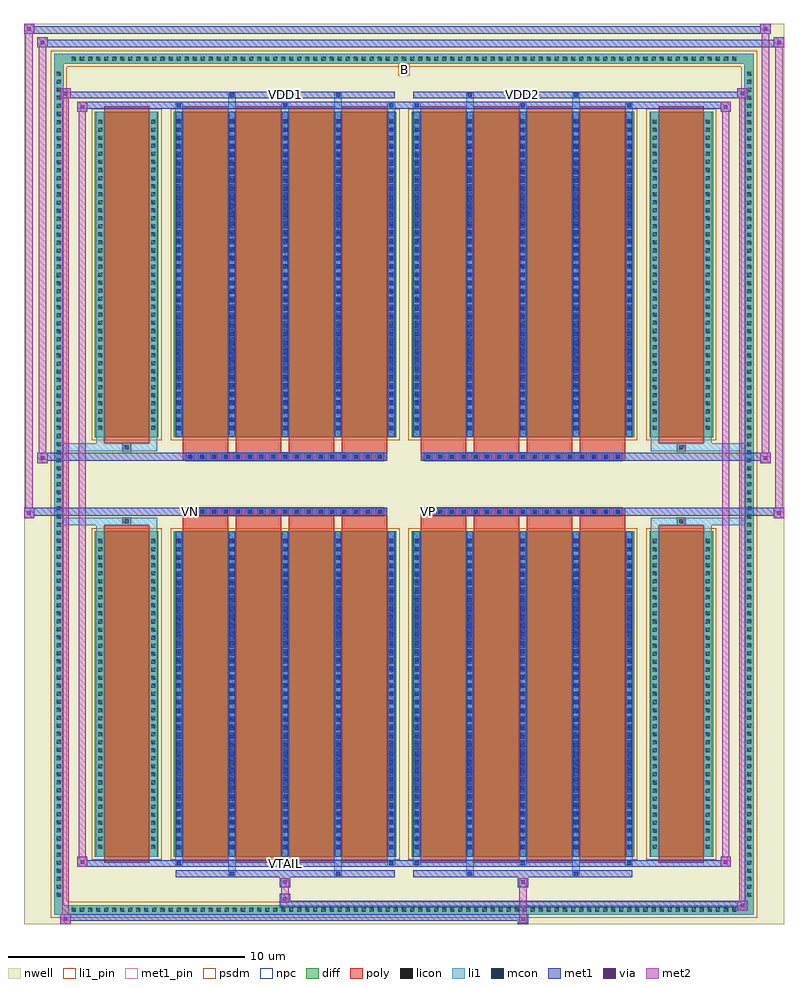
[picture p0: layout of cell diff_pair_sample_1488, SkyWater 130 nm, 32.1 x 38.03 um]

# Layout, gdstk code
import gdstk
lib = gdstk.Library(unit=1e-6, precision=5e-09)
def R(c, l, rs):  # rectangles x0, y0, x1, y1
    for r in rs: c.add(gdstk.rectangle(r[:2], r[2:], *l))
def A(c, l, x, y, w, h, nx, ny, dx, dy):  # array of equal rectangles
    R(c, l, [(x+i*dx, y+j*dy, x+i*dx+w, y+j*dy+h) for i in range(nx) for j in range(ny)])
def P(c, l, *ps):  # polygons
    for p in ps: c.add(gdstk.Polygon(p, *l))
nwell = (64, 20)
diff = (65, 20)
poly = (66, 20)
licon = (66, 44)
li1_pin = (67, 16)
li1 = (67, 20)
mcon = (67, 44)
met1_pin = (68, 16)
met1 = (68, 20)
via = (68, 44)
met2 = (69, 20)
psdm = (94, 20)
npc = (95, 20)

diff_pair_sample_1488 = lib.new_cell('diff_pair_sample_1488')
R(diff_pair_sample_1488, nwell, [(-16.05,-18.58,16.05,19.45), (-13.37,-16.77,-0.01,-0.795), (0.01,-16.77,13.37,-0.795), (-13.37,0.795,-0.01,16.77), (0.01,0.795,13.37,16.77)])
A(diff_pair_sample_1488, diff, -14.145, -18.18, 0.41, 0.41, 83, 2, 0.34, 35.95)
A(diff_pair_sample_1488, diff, -14.78, -17.545, 0.41, 0.41, 1, 103, 0, 0.34)
A(diff_pair_sample_1488, diff, 14.37, -17.545, 0.41, 0.41, 1, 103, 0, 0.34)
R(diff_pair_sample_1488, diff, [(-14.145,-18.18,14.145,-17.77), (-14.78,-17.545,-14.37,17.545), (14.37,-17.545,14.78,17.545), (-13.06,-15.725,-10.37,-1.985), (-9.73,-15.725,-0.32,-1.985), (0.32,-15.725,9.73,-1.985), (10.37,-15.725,13.06,-1.985), (-13.06,1.985,-10.37,15.725), (-9.73,1.985,-0.32,15.725), (0.32,1.985,9.73,15.725), (10.37,1.985,13.06,15.725), (-14.145,17.77,14.145,18.18)])
P(diff_pair_sample_1488, diff, [(14.78,18.18),(-14.78,18.18),(-14.78,-17.77),(-14.37,-17.77),(-14.37,17.77),(14.37,17.77),(14.37,-17.77),(-14.37,-17.77),(-14.78,-17.77),(-14.78,-18.18),(14.78,-18.18)])
A(diff_pair_sample_1488, poly, -9.34, -15.975, 1.91, 14.24, 4, 2, 2.24, 17.71)
A(diff_pair_sample_1488, poly, 0.71, -15.975, 1.91, 14.24, 4, 2, 2.24, 17.71)
A(diff_pair_sample_1488, poly, -9.34, -1.735, 1.91, 0.41, 4, 2, 2.24, 3.06)
A(diff_pair_sample_1488, poly, 0.71, -1.735, 1.91, 0.41, 4, 2, 2.24, 3.06)
A(diff_pair_sample_1488, poly, -9.19, -1.325, 0.33, 0.33, 17, 2, 0.5, 2.32)
A(diff_pair_sample_1488, poly, 0.86, -1.325, 0.33, 0.33, 17, 2, 0.5, 2.32)
R(diff_pair_sample_1488, poly, [(-12.67,-15.975,-10.76,-1.735), (10.76,-15.975,12.67,-1.735), (-11.88,-1.735,-11.55,-1.405), (-11.88,-1.735,-11.55,-1.405), (11.55,-1.735,11.88,-1.405), (11.55,-1.735,11.88,-1.405), (-9.34,-1.325,-0.71,-0.995), (0.71,-1.325,9.34,-0.995), (-9.34,0.995,-0.71,1.325), (0.71,0.995,9.34,1.325), (-11.88,1.405,-11.55,1.735), (-11.88,1.405,-11.55,1.735), (11.55,1.405,11.88,1.735), (11.55,1.405,11.88,1.735), (-12.67,1.735,-10.76,15.975), (10.76,1.735,12.67,15.975)])
A(diff_pair_sample_1488, licon, -14.025, -18.06, 0.17, 0.17, 83, 2, 0.34, 35.95)
A(diff_pair_sample_1488, licon, -14.66, -17.425, 0.17, 0.17, 1, 103, 0, 0.34)
A(diff_pair_sample_1488, licon, 14.49, -17.425, 0.17, 0.17, 1, 103, 0, 0.34)
A(diff_pair_sample_1488, licon, -12.92, -15.4, 0.17, 0.17, 1, 39, 0, 0.34)
A(diff_pair_sample_1488, licon, -10.68, -15.4, 0.17, 0.17, 1, 39, 0, 0.34)
A(diff_pair_sample_1488, licon, -9.59, -15.4, 0.17, 0.17, 5, 39, 2.24, 0.34)
A(diff_pair_sample_1488, licon, 0.46, -15.4, 0.17, 0.17, 5, 39, 2.24, 0.34)
A(diff_pair_sample_1488, licon, 10.51, -15.4, 0.17, 0.17, 1, 39, 0, 0.34)
A(diff_pair_sample_1488, licon, 12.75, -15.4, 0.17, 0.17, 1, 39, 0, 0.34)
A(diff_pair_sample_1488, licon, -9.11, -1.245, 0.17, 0.17, 17, 2, 0.5, 2.32)
A(diff_pair_sample_1488, licon, 0.94, -1.245, 0.17, 0.17, 17, 2, 0.5, 2.32)
A(diff_pair_sample_1488, licon, -12.92, 2.31, 0.17, 0.17, 1, 39, 0, 0.34)
A(diff_pair_sample_1488, licon, -10.68, 2.31, 0.17, 0.17, 1, 39, 0, 0.34)
A(diff_pair_sample_1488, licon, -9.59, 2.31, 0.17, 0.17, 5, 39, 2.24, 0.34)
A(diff_pair_sample_1488, licon, 0.46, 2.31, 0.17, 0.17, 5, 39, 2.24, 0.34)
A(diff_pair_sample_1488, licon, 10.51, 2.31, 0.17, 0.17, 1, 39, 0, 0.34)
A(diff_pair_sample_1488, licon, 12.75, 2.31, 0.17, 0.17, 1, 39, 0, 0.34)
R(diff_pair_sample_1488, licon, [(-11.8,-1.655,-11.63,-1.485), (11.63,-1.655,11.8,-1.485), (-11.8,1.485,-11.63,1.655), (11.63,1.485,11.8,1.655)])
R(diff_pair_sample_1488, li1_pin, [(-0.25,17.27,0.25,17.77)])
A(diff_pair_sample_1488, li1, -14.105, -18.14, 0.33, 0.33, 83, 2, 0.34, 35.95)
A(diff_pair_sample_1488, li1, -14.74, -17.505, 0.33, 0.33, 1, 103, 0, 0.34)
A(diff_pair_sample_1488, li1, 14.41, -17.505, 0.33, 0.33, 1, 103, 0, 0.34)
A(diff_pair_sample_1488, li1, -9.67, -16.1, 0.33, 0.375, 3, 2, 4.48, 31.825)
A(diff_pair_sample_1488, li1, -9.59, -16.1, 0.17, 0.17, 3, 2, 4.48, 32.03)
A(diff_pair_sample_1488, li1, 0.38, -16.1, 0.33, 0.375, 3, 2, 4.48, 31.825)
A(diff_pair_sample_1488, li1, 0.46, -16.1, 0.17, 0.17, 3, 2, 4.48, 32.03)
A(diff_pair_sample_1488, li1, -9.67, -15.725, 0.33, 13.74, 5, 2, 2.24, 17.71)
A(diff_pair_sample_1488, li1, 0.38, -15.725, 0.33, 13.74, 5, 2, 2.24, 17.71)
A(diff_pair_sample_1488, li1, -13, -15.48, 0.33, 0.33, 1, 39, 0, 0.34)
A(diff_pair_sample_1488, li1, -10.76, -15.48, 0.33, 0.33, 1, 39, 0, 0.34)
A(diff_pair_sample_1488, li1, -9.67, -15.48, 0.33, 0.33, 5, 39, 2.24, 0.34)
A(diff_pair_sample_1488, li1, 0.38, -15.48, 0.33, 0.33, 5, 39, 2.24, 0.34)
A(diff_pair_sample_1488, li1, 10.43, -15.48, 0.33, 0.33, 1, 39, 0, 0.34)
A(diff_pair_sample_1488, li1, 12.67, -15.48, 0.33, 0.33, 1, 39, 0, 0.34)
A(diff_pair_sample_1488, li1, -9.59, -15.42, 0.17, 0.17, 5, 37, 2.24, 0.36)
A(diff_pair_sample_1488, li1, -9.59, -15.42, 0.17, 13.13, 5, 2, 2.24, 17.71)
A(diff_pair_sample_1488, li1, 0.46, -15.42, 0.17, 0.17, 5, 37, 2.24, 0.36)
A(diff_pair_sample_1488, li1, 0.46, -15.42, 0.17, 13.13, 5, 2, 2.24, 17.71)
A(diff_pair_sample_1488, li1, -9.19, -1.325, 0.33, 0.33, 17, 2, 0.5, 2.32)
A(diff_pair_sample_1488, li1, 0.86, -1.325, 0.33, 0.33, 17, 2, 0.5, 2.32)
A(diff_pair_sample_1488, li1, -13, 2.23, 0.33, 0.33, 1, 39, 0, 0.34)
A(diff_pair_sample_1488, li1, -10.76, 2.23, 0.33, 0.33, 1, 39, 0, 0.34)
A(diff_pair_sample_1488, li1, -9.67, 2.23, 0.33, 0.33, 5, 39, 2.24, 0.34)
A(diff_pair_sample_1488, li1, 0.38, 2.23, 0.33, 0.33, 5, 39, 2.24, 0.34)
A(diff_pair_sample_1488, li1, 10.43, 2.23, 0.33, 0.33, 1, 39, 0, 0.34)
A(diff_pair_sample_1488, li1, 12.67, 2.23, 0.33, 0.33, 1, 39, 0, 0.34)
A(diff_pair_sample_1488, li1, -9.59, 2.29, 0.17, 0.17, 5, 37, 2.24, 0.36)
A(diff_pair_sample_1488, li1, 0.46, 2.29, 0.17, 0.17, 5, 37, 2.24, 0.36)
R(diff_pair_sample_1488, li1, [(-14.78,-18.18,-14.37,-17.77), (-14.78,-18.18,-14.37,-17.77), (-14.37,-18.18,14.37,-17.77), (14.37,-18.18,14.78,-17.77), (14.37,-18.18,14.78,-17.77), (-14.78,-17.77,-14.37,17.77), (14.37,-17.77,14.78,17.77), (-7.43,-16.53,-7.1,-15.725), (-7.35,-16.53,-7.18,-16.36), (-2.95,-16.53,-2.62,-15.725), (-2.87,-16.53,-2.7,-16.36), (2.62,-16.53,2.95,-15.725), (2.7,-16.53,2.87,-16.36), (7.1,-16.53,7.43,-15.725), (7.18,-16.53,7.35,-16.36), (-13,-15.725,-12.67,-1.985), (-10.76,-15.725,-10.43,-1.985), (10.43,-15.725,10.76,-1.985), (12.67,-15.725,13,-1.985), (-13,-1.985,-12.67,-1.405), (-10.76,-1.985,-10.43,-1.405), (10.43,-1.985,10.76,-1.405), (12.67,-1.985,13,-1.405), (-14.78,-1.735,-11.88,-1.405), (-13,-1.735,-11.88,-1.405), (-11.88,-1.735,-11.55,-1.405), (-11.55,-1.735,-10.43,-1.405), (10.43,-1.735,11.55,-1.405), (11.55,-1.735,11.88,-1.405), (11.55,-1.735,14.78,-1.405), (11.88,-1.735,13,-1.405), (-14.78,1.405,-11.88,1.735), (-13,1.405,-11.88,1.735), (-13,1.405,-12.67,1.985), (-11.88,1.405,-11.55,1.735), (-11.55,1.405,-10.43,1.735), (-10.76,1.405,-10.43,1.985), (10.43,1.405,11.55,1.735), (10.43,1.405,10.76,1.985), (11.55,1.405,11.88,1.735), (11.55,1.405,14.78,1.735), (11.88,1.405,13,1.735), (12.67,1.405,13,1.985), (-13,1.985,-12.67,15.725), (-10.76,1.985,-10.43,15.725), (10.43,1.985,10.76,15.725), (12.67,1.985,13,15.725), (-7.43,15.725,-7.1,16.53), (-2.95,15.725,-2.62,16.53), (2.62,15.725,2.95,16.53), (7.1,15.725,7.43,16.53), (-7.35,16.36,-7.18,16.53), (-2.87,16.36,-2.7,16.53), (2.7,16.36,2.87,16.53), (7.18,16.36,7.35,16.53), (-14.78,17.77,-14.37,18.18), (-14.78,17.77,-14.37,18.18), (-14.37,17.77,14.37,18.18), (14.37,17.77,14.78,18.18), (14.37,17.77,14.78,18.18)])
A(diff_pair_sample_1488, mcon, -9.59, -16.1, 0.17, 0.17, 3, 2, 4.48, 32.03)
A(diff_pair_sample_1488, mcon, 0.46, -16.1, 0.17, 0.17, 3, 2, 4.48, 32.03)
A(diff_pair_sample_1488, mcon, -9.59, -15.42, 0.17, 0.17, 5, 37, 2.24, 0.36)
A(diff_pair_sample_1488, mcon, 0.46, -15.42, 0.17, 0.17, 5, 37, 2.24, 0.36)
A(diff_pair_sample_1488, mcon, -9.11, -1.245, 0.17, 0.17, 17, 2, 0.5, 2.32)
A(diff_pair_sample_1488, mcon, 0.94, -1.245, 0.17, 0.17, 17, 2, 0.5, 2.32)
A(diff_pair_sample_1488, mcon, -9.59, 2.29, 0.17, 0.17, 5, 37, 2.24, 0.36)
A(diff_pair_sample_1488, mcon, 0.46, 2.29, 0.17, 0.17, 5, 37, 2.24, 0.36)
R(diff_pair_sample_1488, mcon, [(-7.35,-16.53,-7.18,-16.36), (-2.87,-16.53,-2.7,-16.36), (2.7,-16.53,2.87,-16.36), (7.18,-16.53,7.35,-16.36), (-7.35,16.36,-7.18,16.53), (-2.87,16.36,-2.7,16.53), (2.7,16.36,2.87,16.53), (7.18,16.36,7.35,16.53)])
R(diff_pair_sample_1488, met1_pin, [(-5.16,-16.14,-4.89,-15.87), (-9.16,-1.285,-8.89,-1.015), (0.89,-1.285,1.16,-1.015), (-5.16,16.32,-4.89,16.59), (4.89,16.32,5.16,16.59)])
A(diff_pair_sample_1488, met1, -9.65, -16.16, 0.29, 0.29, 3, 2, 4.48, 32.03)
A(diff_pair_sample_1488, met1, 0.4, -16.16, 0.29, 0.29, 3, 2, 4.48, 32.03)
A(diff_pair_sample_1488, met1, -9.65, -15.725, 0.29, 13.74, 5, 2, 2.24, 17.71)
A(diff_pair_sample_1488, met1, 0.4, -15.725, 0.29, 13.74, 5, 2, 2.24, 17.71)
A(diff_pair_sample_1488, met1, -9.65, -15.48, 0.29, 0.29, 5, 37, 2.24, 0.36)
A(diff_pair_sample_1488, met1, 0.4, -15.48, 0.29, 0.29, 5, 37, 2.24, 0.36)
A(diff_pair_sample_1488, met1, -9.17, -1.305, 0.29, 0.29, 17, 2, 0.5, 2.32)
A(diff_pair_sample_1488, met1, 0.88, -1.305, 0.29, 0.29, 17, 2, 0.5, 2.32)
A(diff_pair_sample_1488, met1, -9.65, 2.23, 0.29, 0.29, 5, 37, 2.24, 0.36)
A(diff_pair_sample_1488, met1, 0.4, 2.23, 0.29, 0.29, 5, 37, 2.24, 0.36)
R(diff_pair_sample_1488, met1, [(-14.51,-18.58,-14.08,-18.15), (4.81,-18.58,5.24,-18.15), (-14.51,-18.44,5.24,-18.15), (14.08,-18.01,14.51,-17.58), (-5.24,-17.87,14.51,-17.58), (-5.24,-17.73,-4.81,-17.3), (-5.24,-17.02,-4.81,-16.59), (4.81,-17.02,5.24,-16.59), (-9.65,-16.59,-0.4,-16.3), (-7.41,-16.59,-7.12,-16.3), (-2.93,-16.59,-2.64,-16.3), (0.4,-16.59,9.65,-16.3), (2.64,-16.59,2.93,-16.3), (7.12,-16.59,7.41,-16.3), (-13.8,-16.16,-13.37,-15.73), (-13.8,-16.16,-9.65,-15.87), (-9.65,-16.16,-0.4,-15.87), (-0.4,-16.16,0.4,-15.87), (0.4,-16.16,9.65,-15.87), (9.65,-16.16,13.8,-15.87), (13.37,-16.16,13.8,-15.73), (-16.05,-1.425,-15.62,-0.995), (15.62,-1.425,16.05,-0.995), (-16.05,-1.325,-0.71,-0.995), (-9.34,-1.325,-0.71,-0.995), (0.71,-1.325,9.34,-0.995), (0.71,-1.325,16.05,-0.995), (-15.48,0.895,-15.05,1.325), (15.05,0.895,15.48,1.325), (-15.48,0.995,-9.34,1.325), (-9.34,0.995,-0.71,1.325), (0.71,0.995,9.34,1.325), (9.34,0.995,15.48,1.325), (-13.8,15.73,-13.37,16.16), (13.37,15.73,13.8,16.16), (-13.8,15.87,-9.65,16.16), (-9.65,15.87,-0.4,16.16), (-0.4,15.87,0.4,16.16), (0.4,15.87,9.65,16.16), (9.65,15.87,13.8,16.16), (-14.51,16.3,-14.08,16.73), (-14.51,16.3,-9.65,16.59), (-9.65,16.3,-0.4,16.59), (-7.41,16.3,-7.12,16.59), (-2.93,16.3,-2.64,16.59), (0.4,16.3,9.65,16.59), (2.64,16.3,2.93,16.59), (7.12,16.3,7.41,16.59), (9.65,16.3,14.51,16.59), (14.08,16.3,14.51,16.73), (-15.48,18.45,-15.05,18.88), (-15.48,18.45,-13.37,18.78), (-13.37,18.45,13.37,18.78), (13.37,18.45,16.05,18.78), (15.62,18.45,16.05,18.88), (-16.05,19.02,-15.62,19.45), (-16.05,19.02,-13.37,19.35), (-13.37,19.02,13.37,19.35), (13.37,19.02,15.48,19.35), (15.05,19.02,15.48,19.45)])
R(diff_pair_sample_1488, via, [(-14.37,-18.44,-14.22,-18.29), (4.95,-18.44,5.1,-18.29), (14.22,-17.87,14.37,-17.72), (-5.1,-17.59,-4.95,-17.44), (-5.1,-16.88,-4.95,-16.73), (4.95,-16.88,5.1,-16.73), (-13.66,-16.02,-13.51,-15.87), (13.51,-16.02,13.66,-15.87), (-15.91,-1.285,-15.76,-1.135), (15.76,-1.285,15.91,-1.135), (-15.34,1.035,-15.19,1.185), (15.19,1.035,15.34,1.185), (-13.66,15.87,-13.51,16.02), (13.51,15.87,13.66,16.02), (-14.37,16.44,-14.22,16.59), (14.22,16.44,14.37,16.59), (-15.34,18.59,-15.19,18.74), (15.76,18.59,15.91,18.74), (-15.91,19.16,-15.76,19.31), (15.19,19.16,15.34,19.31)])
R(diff_pair_sample_1488, met2, [(-14.51,-18.58,-14.08,-18.15), (-14.44,-18.58,-14.15,16.73), (-14.15,-18.58,-14.08,-18.15), (-14.46,-18.53,-14.13,-18.2), (4.86,-18.53,5.19,-18.2), (4.86,-18.2,5.19,-16.97), (14.08,-18.01,14.51,-17.58), (14.15,-18.01,14.44,16.73), (14.44,-18.01,14.51,-17.58), (14.13,-17.96,14.46,-17.63), (-5.19,-17.68,-4.86,-17.35), (-5.19,-17.35,-4.86,-16.97), (-5.19,-16.97,-4.86,-16.64), (4.86,-16.97,5.19,-16.64), (-13.8,-16.16,-13.37,-15.73), (-13.73,-16.16,-13.44,16.16), (-13.44,-16.16,-13.37,-15.73), (13.37,-16.16,13.8,-15.73), (13.44,-16.16,13.73,16.16), (13.73,-16.16,13.8,-15.73), (-13.75,-16.11,-13.42,-15.78), (13.42,-16.11,13.75,-15.78), (-16.05,-1.425,-15.62,-0.995), (-16,-1.425,-15.67,19.45), (-15.67,-1.425,-15.62,-0.995), (15.62,-1.425,16.05,-0.995), (15.67,-1.425,16,18.88), (16,-1.425,16.05,-0.995), (-16,-1.375,-15.67,-1.045), (15.67,-1.375,16,-1.045), (-15.48,0.895,-15.05,1.325), (-15.43,0.895,-15.1,18.88), (-15.1,0.895,-15.05,1.325), (15.05,0.895,15.48,1.325), (15.1,0.895,15.43,19.45), (15.43,0.895,15.48,1.325), (-15.43,0.945,-15.1,1.275), (15.1,0.945,15.43,1.275), (-13.8,15.73,-13.37,16.16), (-13.44,15.73,-13.37,16.16), (13.37,15.73,13.8,16.16), (13.73,15.73,13.8,16.16), (-13.75,15.78,-13.42,16.11), (13.42,15.78,13.75,16.11), (-14.51,16.3,-14.08,16.73), (-14.15,16.3,-14.08,16.73), (14.08,16.3,14.51,16.73), (14.44,16.3,14.51,16.73), (-14.46,16.35,-14.13,16.68), (14.13,16.35,14.46,16.68), (-15.48,18.45,-15.05,18.88), (-15.1,18.45,-15.05,18.88), (15.62,18.45,16.05,18.88), (16,18.45,16.05,18.88), (-15.43,18.5,-15.1,18.83), (15.67,18.5,16,18.83), (-16.05,19.02,-15.62,19.45), (-15.67,19.02,-15.62,19.45), (15.05,19.02,15.48,19.45), (15.43,19.02,15.48,19.45), (-16,19.07,-15.67,19.4), (15.1,19.07,15.43,19.4)])
R(diff_pair_sample_1488, psdm, [(-13.19,-15.855,-10.24,-1.855), (-9.86,-15.855,-0.19,-1.855), (0.19,-15.855,9.86,-1.855), (10.24,-15.855,13.19,-1.855), (-13.19,1.855,-10.24,15.855), (-9.86,1.855,-0.19,15.855), (0.19,1.855,9.86,15.855), (10.24,1.855,13.19,15.855)])
P(diff_pair_sample_1488, psdm, [(14.91,18.31),(-14.91,18.31),(-14.91,-17.64),(-14.24,-17.64),(-14.24,17.64),(14.24,17.64),(14.24,-17.64),(-14.24,-17.64),(-14.91,-17.64),(-14.91,-18.31),(14.91,-18.31)])
A(diff_pair_sample_1488, npc, -9.21, -1.345, 0.37, 0.37, 17, 2, 0.5, 2.32)
A(diff_pair_sample_1488, npc, 0.84, -1.345, 0.37, 0.37, 17, 2, 0.5, 2.32)
R(diff_pair_sample_1488, npc, [(-11.9,-1.755,-11.53,-1.385), (11.53,-1.755,11.9,-1.385), (-9.21,-1.345,-8.34,-0.975), (-9.21,-1.345,-8.34,-0.975), (-8.71,-1.345,-7.84,-0.975), (-8.71,-1.345,-7.84,-0.975), (-8.21,-1.345,-7.34,-0.975), (-8.21,-1.345,-7.34,-0.975), (-7.71,-1.345,-6.84,-0.975), (-7.71,-1.345,-6.84,-0.975), (-7.21,-1.345,-6.34,-0.975), (-7.21,-1.345,-6.34,-0.975), (-6.71,-1.345,-5.84,-0.975), (-6.71,-1.345,-5.84,-0.975), (-6.21,-1.345,-5.34,-0.975), (-6.21,-1.345,-5.34,-0.975), (-5.71,-1.345,-4.84,-0.975), (-5.71,-1.345,-4.84,-0.975), (-5.21,-1.345,-4.34,-0.975), (-5.21,-1.345,-4.34,-0.975), (-4.71,-1.345,-3.84,-0.975), (-4.71,-1.345,-3.84,-0.975), (-4.21,-1.345,-3.34,-0.975), (-4.21,-1.345,-3.34,-0.975), (-3.71,-1.345,-2.84,-0.975), (-3.71,-1.345,-2.84,-0.975), (-3.21,-1.345,-2.34,-0.975), (-3.21,-1.345,-2.34,-0.975), (-2.71,-1.345,-1.84,-0.975), (-2.71,-1.345,-1.84,-0.975), (-2.21,-1.345,-1.34,-0.975), (-2.21,-1.345,-1.34,-0.975), (-1.71,-1.345,-0.84,-0.975), (-1.71,-1.345,-0.84,-0.975), (0.84,-1.345,1.71,-0.975), (0.84,-1.345,1.71,-0.975), (1.34,-1.345,2.21,-0.975), (1.34,-1.345,2.21,-0.975), (1.84,-1.345,2.71,-0.975), (1.84,-1.345,2.71,-0.975), (2.34,-1.345,3.21,-0.975), (2.34,-1.345,3.21,-0.975), (2.84,-1.345,3.71,-0.975), (2.84,-1.345,3.71,-0.975), (3.34,-1.345,4.21,-0.975), (3.34,-1.345,4.21,-0.975), (3.84,-1.345,4.71,-0.975), (3.84,-1.345,4.71,-0.975), (4.34,-1.345,5.21,-0.975), (4.34,-1.345,5.21,-0.975), (4.84,-1.345,5.71,-0.975), (4.84,-1.345,5.71,-0.975), (5.34,-1.345,6.21,-0.975), (5.34,-1.345,6.21,-0.975), (5.84,-1.345,6.71,-0.975), (5.84,-1.345,6.71,-0.975), (6.34,-1.345,7.21,-0.975), (6.34,-1.345,7.21,-0.975), (6.84,-1.345,7.71,-0.975), (6.84,-1.345,7.71,-0.975), (7.34,-1.345,8.21,-0.975), (7.34,-1.345,8.21,-0.975), (7.84,-1.345,8.71,-0.975), (7.84,-1.345,8.71,-0.975), (8.34,-1.345,9.21,-0.975), (8.34,-1.345,9.21,-0.975), (-9.21,0.975,-8.34,1.345), (-9.21,0.975,-8.34,1.345), (-8.71,0.975,-7.84,1.345), (-8.71,0.975,-7.84,1.345), (-8.21,0.975,-7.34,1.345), (-8.21,0.975,-7.34,1.345), (-7.71,0.975,-6.84,1.345), (-7.71,0.975,-6.84,1.345), (-7.21,0.975,-6.34,1.345), (-7.21,0.975,-6.34,1.345), (-6.71,0.975,-5.84,1.345), (-6.71,0.975,-5.84,1.345), (-6.21,0.975,-5.34,1.345), (-6.21,0.975,-5.34,1.345), (-5.71,0.975,-4.84,1.345), (-5.71,0.975,-4.84,1.345), (-5.21,0.975,-4.34,1.345), (-5.21,0.975,-4.34,1.345), (-4.71,0.975,-3.84,1.345), (-4.71,0.975,-3.84,1.345), (-4.21,0.975,-3.34,1.345), (-4.21,0.975,-3.34,1.345), (-3.71,0.975,-2.84,1.345), (-3.71,0.975,-2.84,1.345), (-3.21,0.975,-2.34,1.345), (-3.21,0.975,-2.34,1.345), (-2.71,0.975,-1.84,1.345), (-2.71,0.975,-1.84,1.345), (-2.21,0.975,-1.34,1.345), (-2.21,0.975,-1.34,1.345), (-1.71,0.975,-0.84,1.345), (-1.71,0.975,-0.84,1.345), (0.84,0.975,1.71,1.345), (0.84,0.975,1.71,1.345), (1.34,0.975,2.21,1.345), (1.34,0.975,2.21,1.345), (1.84,0.975,2.71,1.345), (1.84,0.975,2.71,1.345), (2.34,0.975,3.21,1.345), (2.34,0.975,3.21,1.345), (2.84,0.975,3.71,1.345), (2.84,0.975,3.71,1.345), (3.34,0.975,4.21,1.345), (3.34,0.975,4.21,1.345), (3.84,0.975,4.71,1.345), (3.84,0.975,4.71,1.345), (4.34,0.975,5.21,1.345), (4.34,0.975,5.21,1.345), (4.84,0.975,5.71,1.345), (4.84,0.975,5.71,1.345), (5.34,0.975,6.21,1.345), (5.34,0.975,6.21,1.345), (5.84,0.975,6.71,1.345), (5.84,0.975,6.71,1.345), (6.34,0.975,7.21,1.345), (6.34,0.975,7.21,1.345), (6.84,0.975,7.71,1.345), (6.84,0.975,7.71,1.345), (7.34,0.975,8.21,1.345), (7.34,0.975,8.21,1.345), (7.84,0.975,8.71,1.345), (7.84,0.975,8.71,1.345), (8.34,0.975,9.21,1.345), (8.34,0.975,9.21,1.345), (-11.9,1.385,-11.53,1.755), (11.53,1.385,11.9,1.755)])
diff_pair_sample_1488.add(gdstk.Label('VTAIL', (-5.025,-16.005), layer=68, texttype=5))
diff_pair_sample_1488.add(gdstk.Label('VN', (-9.025,-1.15), layer=68, texttype=5))
diff_pair_sample_1488.add(gdstk.Label('VP', (1.025,-1.15), layer=68, texttype=5))
diff_pair_sample_1488.add(gdstk.Label('B', (0,17.52), layer=67, texttype=5))
diff_pair_sample_1488.add(gdstk.Label('VDD2', (5.025,16.455), layer=68, texttype=5))
diff_pair_sample_1488.add(gdstk.Label('VDD1', (-5.025,16.455), layer=68, texttype=5))

lib.write_gds('diff_pair_sample_1488.gds')
